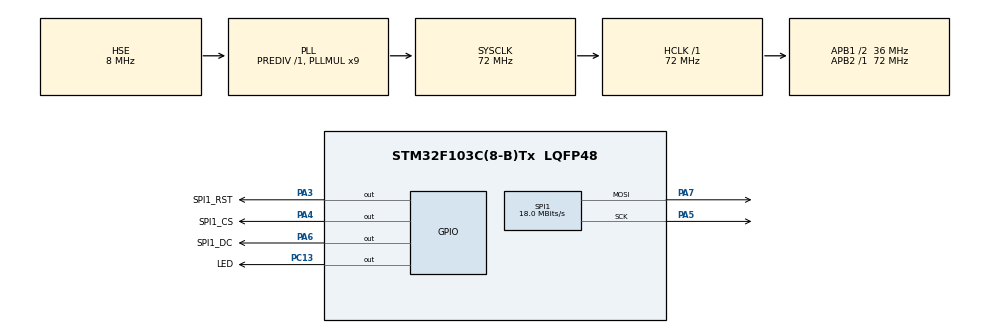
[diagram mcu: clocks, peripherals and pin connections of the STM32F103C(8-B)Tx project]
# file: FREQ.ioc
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Mcu.Family=STM32F1
Mcu.Name=STM32F103C(8-B)Tx
Mcu.Package=LQFP48
NVIC.PriorityGroup=NVIC_PRIORITYGROUP_4
PA13.Mode=Serial_Wire
PA13.Signal=SYS_JTMS-SWDIO
PA14.Mode=Serial_Wire
PA14.Signal=SYS_JTCK-SWCLK
PA3.GPIO_Label=SPI1_RST
PA3.Signal=GPIO_Output
PA4.GPIO_Label=SPI1_CS
PA4.Signal=GPIO_Output
PA5.Mode=TX_Only_Simplex_Unidirect_Master
PA5.Signal=SPI1_SCK
PA6.GPIO_Label=SPI1_DC
PA6.Signal=GPIO_Output
PA7.Mode=TX_Only_Simplex_Unidirect_Master
PA7.Signal=SPI1_MOSI
PC13-TAMPER-RTC.GPIO_Label=LED
PC13-TAMPER-RTC.Signal=GPIO_Output
PD0-OSC_IN.Mode=HSE-External-Oscillator
PD0-OSC_IN.Signal=RCC_OSC_IN
PD1-OSC_OUT.Mode=HSE-External-Oscillator
PD1-OSC_OUT.Signal=RCC_OSC_OUT
ProjectManager.HeapSize=0x200
ProjectManager.StackSize=0x400
ProjectManager.TargetToolchain=MDK-ARM V5.27
RCC.AHBFreq_Value=72000000
RCC.APB1CLKDivider=RCC_HCLK_DIV2
RCC.APB1Freq_Value=36000000
RCC.APB1TimFreq_Value=72000000
RCC.APB2Freq_Value=72000000
RCC.APB2TimFreq_Value=72000000
RCC.HCLKFreq_Value=72000000
RCC.PLLMUL=RCC_PLL_MUL9
RCC.PLLSourceVirtual=RCC_PLLSOURCE_HSE
RCC.SYSCLKFreq_VALUE=72000000
RCC.SYSCLKSource=RCC_SYSCLKSOURCE_PLLCLK
RCC.USBFreq_Value=72000000
SPI1.BaudRatePrescaler=SPI_BAUDRATEPRESCALER_4
SPI1.CalculateBaudRate=18.0 MBits/s
SPI1.Direction=SPI_DIRECTION_2LINES
SPI1.Mode=SPI_MODE_MASTER
SPI1.VirtualType=VM_MASTER
board=custom

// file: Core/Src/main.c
/* USER CODE BEGIN Header */
/**
  ******************************************************************************
  * @file           : main.c
  * @brief          : Main program body
  ******************************************************************************
  * @attention
  *
  * <h2><center>&copy; Copyright (c) 2022 STMicroelectronics.
  * All rights reserved.</center></h2>
  *
  * This software component is licensed by ST under BSD 3-Clause license,
  * the "License"; You may not use this file except in compliance with the
  * License. You may obtain a copy of the License at:
  *                        opensource.org/licenses/BSD-3-Clause
  *
  ******************************************************************************
  */
/* USER CODE END Header */
#include "main.h"
#include "spi.h"
#include "gpio.h"

/* USER CODE BEGIN Includes */

#include "st7735.h"
#include "fonts.h"

/* USER CODE END Includes */

/* USER CODE BEGIN PV */

char display[] = "---------";

/* USER CODE END PV */

void SystemClock_Config(void);

int main(void) {

    /* MCU Configuration--------------------------------------------------------*/

    /* Reset of all peripherals, Initializes the Flash interface and the Systick. */
    HAL_Init();

    /* Configure the system clock */
    SystemClock_Config();

    /* Initialize all configured peripherals */
    MX_GPIO_Init();
    MX_SPI1_Init();
    /* USER CODE BEGIN 2 */

    ST7735_Init();
    ST7735_FillScreen(ST7735_BLACK);

    uint32_t dat = 0x01020304;
    display[0] = (dat >> 24) + '0';
    display[1] = (dat >> 16) + '0';
    display[2] = (dat >> 8) + '0';
    display[3] = (dat >> 0) + '0';

    dat = 0x01020304;
    display[4] = (dat >> 24) + '0';
    display[5] = (dat >> 16) + '0';
    display[6] = (dat >> 8) + '0';
    display[7] = (dat >> 0) + '0';

    /* USER CODE END 2 */

    /* Infinite loop */
    while (1) {

        /* USER CODE BEGIN 3 */

        HAL_GPIO_TogglePin(LED_GPIO_Port, LED_Pin);

        HAL_Delay(200);

//    ST7735_WriteString(25, 15, display, Font_11x18, ST7735_YELLOW, ST7735_BLACK);

        ST7735_WriteNumber(0, 0, 12345);
    }
    /* USER CODE END 3 */
}

void SystemClock_Config(void) {
    RCC_OscInitTypeDef RCC_OscInitStruct = {0};
    RCC_ClkInitTypeDef RCC_ClkInitStruct = {0};

    /** Initializes the RCC Oscillators according to the specified parameters
    * in the RCC_OscInitTypeDef structure.
    */
    RCC_OscInitStruct.OscillatorType = RCC_OSCILLATORTYPE_HSE;
    RCC_OscInitStruct.HSEState = RCC_HSE_ON;
    RCC_OscInitStruct.HSEPredivValue = RCC_HSE_PREDIV_DIV1;
    RCC_OscInitStruct.HSIState = RCC_HSI_ON;
    RCC_OscInitStruct.PLL.PLLState = RCC_PLL_ON;
    RCC_OscInitStruct.PLL.PLLSource = RCC_PLLSOURCE_HSE;
    RCC_OscInitStruct.PLL.PLLMUL = RCC_PLL_MUL9;
    if (HAL_RCC_OscConfig(&RCC_OscInitStruct) != HAL_OK) {
        Error_Handler();
    }
    /** Initializes the CPU, AHB and APB buses clocks
    */
    RCC_ClkInitStruct.ClockType = RCC_CLOCKTYPE_HCLK | RCC_CLOCKTYPE_SYSCLK
                                  | RCC_CLOCKTYPE_PCLK1 | RCC_CLOCKTYPE_PCLK2;
    RCC_ClkInitStruct.SYSCLKSource = RCC_SYSCLKSOURCE_PLLCLK;
    RCC_ClkInitStruct.AHBCLKDivider = RCC_SYSCLK_DIV1;
    RCC_ClkInitStruct.APB1CLKDivider = RCC_HCLK_DIV2;
    RCC_ClkInitStruct.APB2CLKDivider = RCC_HCLK_DIV1;

    if (HAL_RCC_ClockConfig(&RCC_ClkInitStruct, FLASH_LATENCY_2) != HAL_OK) {
        Error_Handler();
    }
}

void Error_Handler(void) {
}

/************************ (C) COPYRIGHT STMicroelectronics *****END OF FILE****/
